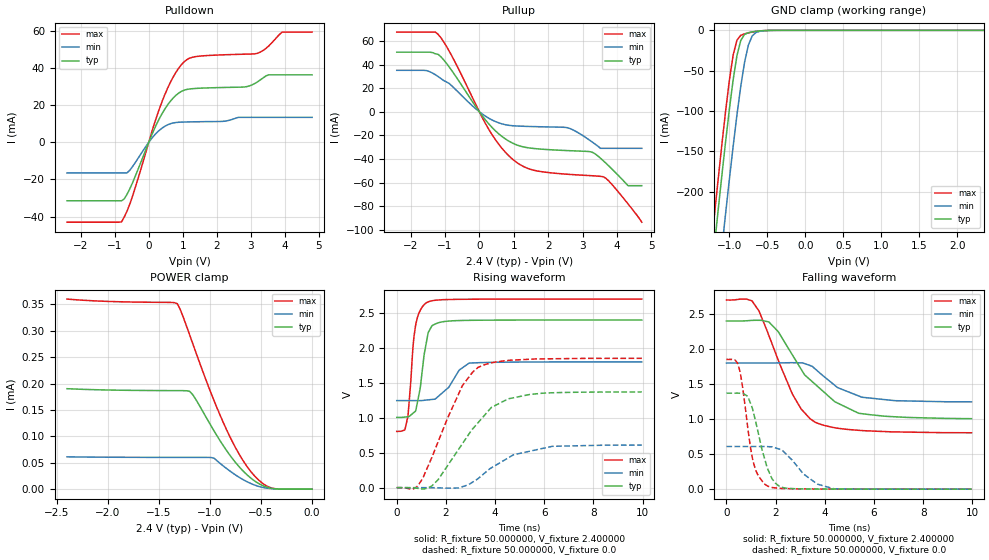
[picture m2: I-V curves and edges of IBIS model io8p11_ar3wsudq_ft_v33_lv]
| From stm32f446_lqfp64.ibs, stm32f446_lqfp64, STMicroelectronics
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|   Model io8p11_ar3wsudq_ft_v33_lv
[Model]  io8p11_ar3wsudq_ft_v33_lv
Model_type I/O
Polarity   Non-Inverting
Enable   Active-Low
Vinl =   0.720000V
Vinh =   1.680000V
Vmeas =  1.200000V
Cref =   30.000000pF
Rref =   100.000000M
Vref =   0.0V
C_comp   3.742400pF   3.690400pF   3.817400pF
[Temperature Range]   25.000000   0.125000k   -40.000000
[Pullup Reference]   2.400000V   1.800000V   2.700000V
[Pulldown Reference]   0.0V   0.0V   0.0V
[POWER Clamp Reference]   2.400000V   1.800000V   2.700000V
[GND Clamp Reference]   0.0V   0.0V   0.0V
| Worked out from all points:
|   slope of the pulldown table from 0 to 0.36 V, typ, clamps not added: 25 ohm
|   slope of the pullup table from 0 to 0.36 V, typ, clamps not added: 27.7 ohm
|   GND clamp passes 1 mA (typ) near -0.62 V on its own axis
|   rising waveform, R_fixture 50.000000, V_fixture 2.400000: 20-80 % time 350ps typ, 711ps min, 273ps max; typ from 1.01 V to 2.4 V
|   rising waveform, R_fixture 50.000000, V_fixture 0.0: 20-80 % time 1.73ns typ, 1.69ns min, 1.37ns max; typ from 0 V to 1.37 V
|   falling waveform, R_fixture 50.000000, V_fixture 2.400000: 20-80 % time 1.96ns typ, 1.49ns min, 1.39ns max; typ from 2.4 V to 1.01 V
|   falling waveform, R_fixture 50.000000, V_fixture 0.0: 20-80 % time 599ps typ, 1.04ns min, 461ps max; typ from 1.37 V to 0 V
[Pulldown]
|Voltage   I(typ)   I(min)   I(max)
-2.4V     -31.47mA   -16.45mA   -43.01mA
-800mV    -31.47mA   -16.45mA   -42.85mA
-480mV    -21.98mA   -13.17mA   -29.21mA
80mV      3.63mA     1.966mA    5.014mA
480mV     18.16mA    8.738mA    26.02mA
800mV     25.38mA    10.72mA    37.77mA
1.12V     28.53mA    11.02mA    44.6mA
2.8V      29.84mA    13.49mA    47.53mA
3.2V      32.65mA    13.49mA    48.04mA
3.52V     36.4mA     13.49mA    51.83mA
3.92V     36.4mA     13.49mA    59.44mA
4.8V      36.4mA     13.49mA    59.44mA
[Pullup]
|Voltage   I(typ)   I(min)   I(max)
-2.4V     50.45mA    35.09mA    67.46mA
-1.52V    50.45mA    34.74mA    67.46mA
-1.2V     48.61mA    29.87mA    65.61mA
-800mV    34.81mA    21.95mA    47.28mA
320mV     -11.75mA   -6.207mA   -17.08mA
1.04V     -27.54mA   -11.97mA   -41.91mA
1.6V      -31.14mA   -12.58mA   -49.63mA
2.56V     -32.88mA   -13.52mA   -52.9mA
3.28V     -34.25mA   -25.62mA   -54.18mA
3.6V      -41.44mA   -30.96mA   -55.03mA
4.32V     -62.58mA   -30.96mA   -77.98mA
4.72V     -62.58mA   -30.96mA   -93.5mA
[GND_clamp]
|Voltage   I(typ)   I(min)   I(max)
-2.4V     -1.437A    -1.518A    -1.41A
-1.25V    -315.9mA   -407.2mA   -278.2mA
-1.2V     -270.1mA   -361.3mA   -232.1mA
-1.15V    -225mA     -316mA     -186.8mA
-1.1V     -180.9mA   -271.3mA   -142.7mA
-1.05V    -138.2mA   -227.5mA   -100.5mA
-950mV    -61.14mA   -143.6mA   -30.43mA
-900mV    -31.23mA   -104.7mA   -12.14mA
-850mV    -12.49mA   -69.4mA    -6.221mA
-750mV    -2.898mA   -18.35mA   -3.18mA
-600mV    -750.2uA   -1.218mA   -738.3uA
2.35V     0A         0A         0A
[POWER_clamp]
|Voltage   I(typ)   I(min)   I(max)
-2.4V     190.2uA    61.19uA    359.9uA
-1.32V    186.6uA    60.14uA    351.2uA
-1.29V    186.5uA    60.13uA    339.6uA
-1.2V     185.4uA    60.11uA    292.6uA
-1.17V    179.2uA    60.11uA    276.3uA
-960mV    110.2uA    58.62uA    167.5uA
-870mV    82.44uA    43.99uA    126.3uA
-750mV    50.58uA    26.92uA    78.64uA
-630mV    25.94uA    13.41uA    41.02uA
-510mV    9.22uA     4.527uA    14.97uA
-420mV    2.425uA    1.38uA     3.75uA
0V        0A         0A         0A
[Ramp]
| variable   typ   min   max
dV/dt_r  0.82164/1.72879n   0.36981/1.76846n   1.11132/1.36626n
dV/dt_f  0.83208/1.95881n   0.33222/1.49500n   1.13594/1.38984n
R_load = 50.000000
[Rising Waveform]
R_fixture= 50.000000
V_fixture= 2.400000
V_fixture_min= 1.800000
V_fixture_max= 2.700000
|time   V(typ)   V(min)   V(max)
0s        1.006V     1.247V     804.9mV
320.3ps   1.01V      1.247V     824.5mV
460.5ps   1.016V     1.247V     1.037V
660.7ps   1.065V     1.247V     2.01V
760.8ps   1.094V     1.247V     2.307V
961ps     1.44V      1.246V     2.541V
1.221ns   2.109V     1.255V     2.65V
1.562ns   2.343V     1.268V     2.682V
2.943ns   2.395V     1.783V     2.697V
9.97ns    2.4V       1.8V       2.7V
[Rising Waveform]
R_fixture= 50.000000
V_fixture= 0.0
V_fixture_min= 0.0
V_fixture_max= 0.0
|time   V(typ)   V(min)   V(max)
0s        77.96uV    35.29uV    223.3uV
860.9ps   -10.31mV   60.71uV    27.03mV
1.261ns   -5.238mV   -407.8uV   297.9mV
1.682ns   113.2mV    -2.538mV   655mV
2.663ns   624.7mV    12.35mV    1.454V
3.323ns   935.8mV    133.7mV    1.725V
3.864ns   1.151V     286.5mV    1.788V
5.405ns   1.334V     521mV      1.838V
6.326ns   1.358V     591.7mV    1.845V
9.97ns    1.37V      609.1mV    1.851V
[Falling Waveform]
R_fixture= 50.000000
V_fixture= 2.400000
V_fixture_min= 1.800000
V_fixture_max= 2.700000
|time   V(typ)   V(min)   V(max)
0s        2.4V       1.8V       2.7V
1.041ns   2.409V     1.8V       2.687V
1.321ns   2.41V      1.8V       2.544V
1.722ns   2.387V     1.8V       2.197V
2.683ns   1.916V     1.805V     1.358V
3.183ns   1.63V      1.792V     1.089V
3.604ns   1.499V     1.718V     956.1mV
4.525ns   1.228V     1.449V     870mV
5.385ns   1.083V     1.33V      839.8mV
9.97ns    1.006V     1.247V     804.9mV
[Falling Waveform]
R_fixture= 50.000000
V_fixture= 0.0
V_fixture_min= 0.0
V_fixture_max= 0.0
|time   V(typ)   V(min)   V(max)
0s        1.37V      609.1mV    1.851V
460.5ps   1.371V     609mV      1.795V
660.7ps   1.366V     608.9mV    1.446V
860.9ps   1.327V     608.9mV    895.8mV
1.181ns   974.4mV    608.7mV    278.6mV
1.682ns   285.8mV    606.8mV    42.83mV
2.262ns   26.51mV    558mV      9.868mV
3.143ns   3.921mV    214.4mV    3.331mV
4.364ns   1.491mV    6.448mV    1.217mV
9.97ns    77.96uV    35.29uV    223.3uV
